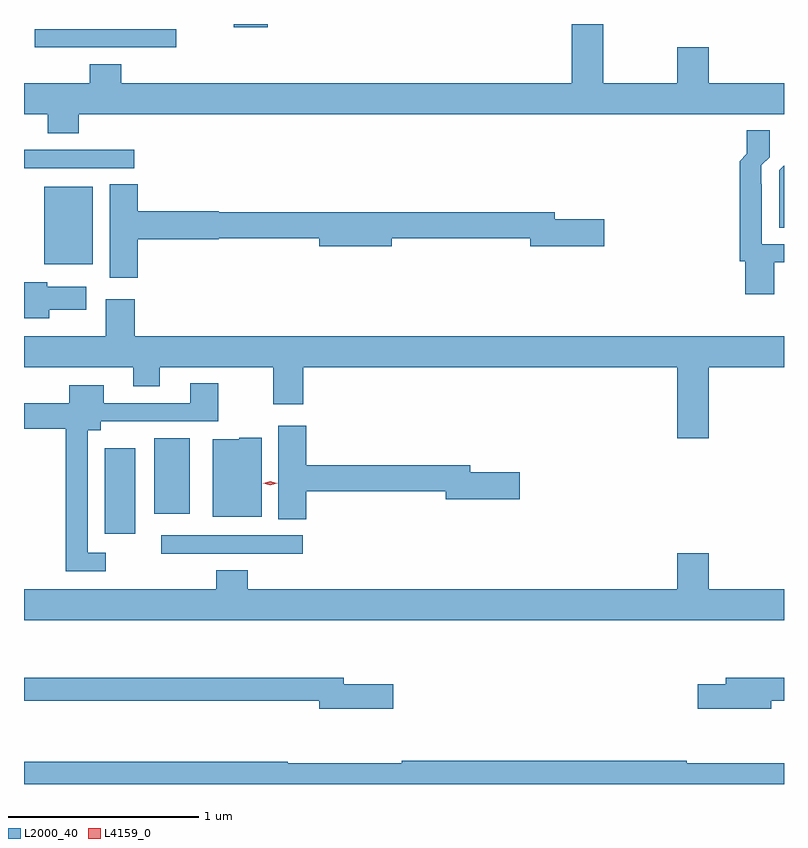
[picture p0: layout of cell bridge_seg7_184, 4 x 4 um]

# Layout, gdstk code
import gdstk
lib = gdstk.Library(unit=1e-6, precision=1e-09)
def R(c, l, rs):  # rectangles x0, y0, x1, y1
    for r in rs: c.add(gdstk.rectangle(r[:2], r[2:], *l))
def P(c, l, *ps):  # polygons
    for p in ps: c.add(gdstk.Polygon(p, *l))
L2000_40 = (2000, 40)
L4159_0 = (4159, 0)

bridge_seg7_184 = lib.new_cell('bridge_seg7_184')
R(bridge_seg7_184, L2000_40, [(390.063,1016.952,390.808,1017.048), (389.765,1017.057,389.926,1017.505), (390.026,1017.161,390.214,1017.559), (389.447,1018.475,389.704,1018.882), (389.341,1018.98,389.92,1019.076), (389.397,1019.616,390.142,1019.712), (390.445,1019.721,390.623,1019.739)])
P(bridge_seg7_184, L2000_40, [(389.63,1019.264),(393.341,1019.264),(393.341,1019.428),(392.944,1019.428),(392.944,1019.617),(392.78,1019.617),(392.78,1019.428),(392.389,1019.428),(392.389,1019.739),(392.225,1019.739),(392.225,1019.428),(389.852,1019.428),(389.852,1019.527),(389.687,1019.527),(389.687,1019.428),(389.341,1019.428),(389.341,1019.264),(389.465,1019.264),(389.465,1019.165),(389.63,1019.165)],
  [(393.289,1018.484),(393.341,1018.484),(393.341,1018.581),(393.225,1018.581),(393.225,1018.895),(393.222,1018.895),(393.222,1018.995),(393.265,1019.038),(393.265,1019.179),(393.145,1019.179),(393.145,1019.055),(393.107,1019.016),(393.107,1018.834),(393.109,1018.834),(393.109,1018.491),(393.137,1018.491),(393.137,1018.317),(393.289,1018.317)],
  [(393.341,1018.992),(393.339,1018.992),(393.315,1018.968),(393.315,1018.666),(393.341,1018.666)],
  [(389.939,1018.607),(390.366,1018.607),(390.366,1018.612),(390.896,1018.612),(390.896,1018.57),(391.276,1018.57),(391.276,1018.612),(392.006,1018.612),(392.006,1018.57),(392.395,1018.57),(392.395,1018.712),(392.134,1018.712),(392.134,1018.748),(390.366,1018.748),(390.366,1018.754),(389.939,1018.754),(389.939,1018.895),(389.792,1018.895),(389.792,1018.404),(389.939,1018.404)],
  [(389.475,1018.235),(389.668,1018.235),(389.668,1018.357),(389.463,1018.357),(389.463,1018.38),(389.341,1018.38),(389.341,1018.19),(389.475,1018.19)],
  [(389.771,1018.096),(389.341,1018.096),(389.341,1017.932),(389.915,1017.932),(389.915,1017.833),(390.055,1017.833),(390.055,1017.932),(390.652,1017.932),(390.652,1017.738),(390.812,1017.738),(390.812,1017.932),(392.78,1017.932),(392.78,1017.558),(392.944,1017.558),(392.944,1017.932),(393.341,1017.932),(393.341,1018.096),(389.924,1018.096),(389.924,1018.291),(389.771,1018.291)],
  [(389.77,1016.955),(389.676,1016.955),(389.676,1017.602),(389.746,1017.602),(389.746,1017.648),(390.363,1017.648),(390.363,1017.847),(390.215,1017.847),(390.215,1017.744),(389.761,1017.744),(389.761,1017.838),(389.579,1017.838),(389.579,1017.742),(389.341,1017.742),(389.341,1017.608),(389.56,1017.608),(389.56,1016.859),(389.77,1016.859)],
  [(390.827,1017.28),(391.562,1017.28),(391.562,1017.238),(391.951,1017.238),(391.951,1017.38),(391.69,1017.38),(391.69,1017.416),(390.827,1017.416),(390.827,1017.625),(390.68,1017.625),(390.68,1017.133),(390.827,1017.133)],
  [(390.592,1017.562),(390.474,1017.562),(390.474,1017.553),(390.335,1017.553),(390.335,1017.146),(390.592,1017.146)],
  [(393.341,1016.764),(392.944,1016.764),(392.944,1016.953),(392.78,1016.953),(392.78,1016.764),(390.518,1016.764),(390.518,1016.863),(390.353,1016.863),(390.353,1016.764),(389.341,1016.764),(389.341,1016.6),(393.341,1016.6)],
  [(393.274,1016.178),(393.341,1016.178),(393.341,1016.299),(393.035,1016.299),(393.035,1016.265),(392.886,1016.265),(392.886,1016.135),(393.274,1016.135)],
  [(391.285,1016.265),(391.024,1016.265),(391.024,1016.299),(389.341,1016.299),(389.341,1016.178),(390.896,1016.178),(390.896,1016.135),(391.285,1016.135)],
  [(393.341,1015.847),(392.83,1015.847),(392.83,1015.862),(391.33,1015.862),(391.33,1015.847),(390.73,1015.847),(390.73,1015.855),(389.341,1015.855),(389.341,1015.739),(393.341,1015.739)])
P(bridge_seg7_184, L4159_0, [(390.637,1017.312),(390.599,1017.322),(390.599,1017.322),(390.599,1017.323),(390.637,1017.332),(390.674,1017.322),(390.674,1017.322),(390.674,1017.322)])

lib.write_gds('bridge_seg7_184.gds')
